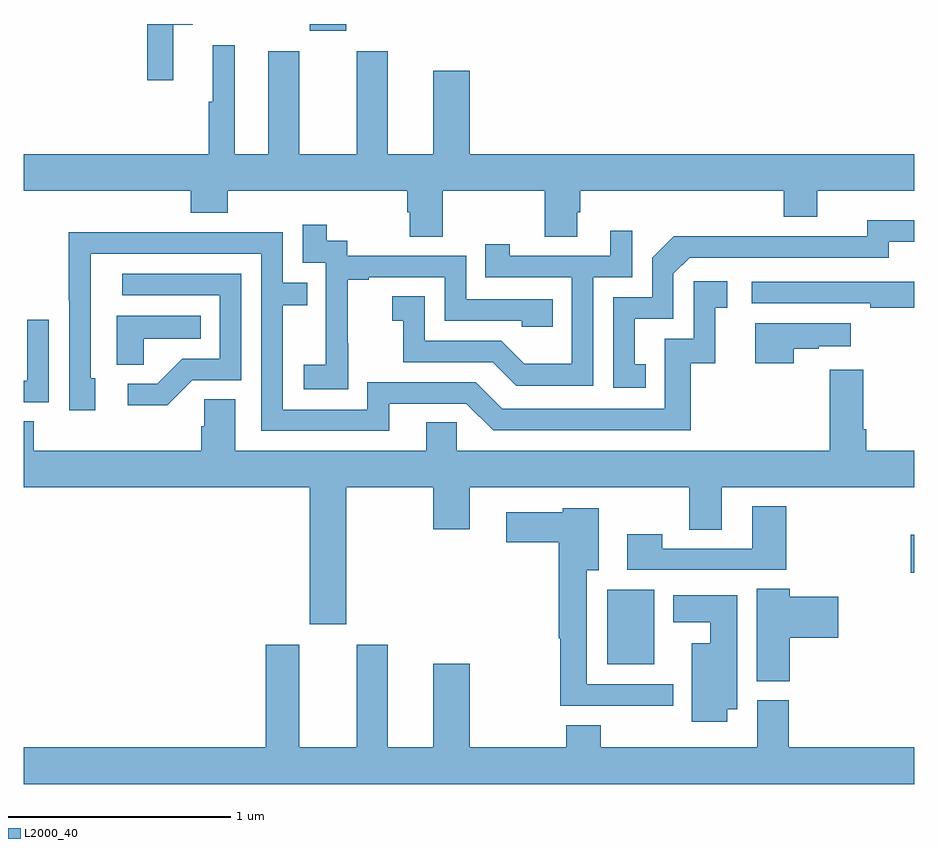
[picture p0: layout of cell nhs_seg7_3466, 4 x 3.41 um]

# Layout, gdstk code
import gdstk
lib = gdstk.Library(unit=1e-6, precision=1e-09)
def R(c, l, rs):  # rectangles x0, y0, x1, y1
    for r in rs: c.add(gdstk.rectangle(r[:2], r[2:], *l))
def P(c, l, *ps):  # polygons
    for p in ps: c.add(gdstk.Polygon(p, *l))
L2000_40 = (2000, 40)

nhs_seg7_3466 = lib.new_cell('nhs_seg7_3466')
R(nhs_seg7_3466, L2000_40, [(333.62,1029.125,333.832,1029.46), (334.983,1029.536,335,1029.706), (332.285,1031.97,332.449,1032)])
P(nhs_seg7_3466, L2000_40, [(331.673,1031.996),(331.759,1031.996),(331.759,1032),(331.555,1032),(331.555,1031.748),(331.673,1031.748)],
  [(332.883,1031.252),(333.34,1031.252),(333.34,1031.044),(333.487,1031.044),(333.487,1031.154),(333.5,1031.154),(333.5,1031.252),(334.412,1031.252),(334.412,1031.135),(334.564,1031.135),(334.564,1031.252),(335,1031.252),(335,1031.416),(333.004,1031.416),(333.004,1031.791),(332.84,1031.791),(332.84,1031.416),(332.635,1031.416),(332.635,1031.878),(332.495,1031.878),(332.495,1031.416),(332.239,1031.416),(332.239,1031.878),(332.099,1031.878),(332.099,1031.416),(331.948,1031.416),(331.948,1031.905),(331.85,1031.905),(331.85,1031.652),(331.831,1031.652),(331.831,1031.416),(331,1031.416),(331,1031.252),(331.751,1031.252),(331.751,1031.153),(331.916,1031.153),(331.916,1031.252),(332.723,1031.252),(332.723,1031.154),(332.735,1031.154),(332.735,1031.044),(332.883,1031.044)],
  [(333.794,1030.473),(333.745,1030.473),(333.745,1030.677),(333.918,1030.677),(333.918,1030.878),(333.99,1030.95),(334.884,1030.95),(334.884,1031.022),(335,1031.022),(335,1031.119),(334.788,1031.119),(334.788,1031.046),(334.328,1031.046),(334.328,1031.048),(333.92,1031.048),(333.822,1030.95),(333.822,1030.773),(333.648,1030.773),(333.648,1030.368),(333.794,1030.368)],
  [(332.457,1030.567),(332.456,1030.567),(332.456,1030.851),(332.551,1030.851),(332.551,1030.863),(332.892,1030.863),(332.892,1030.668),(333.237,1030.668),(333.237,1030.641),(333.377,1030.641),(333.377,1030.764),(332.988,1030.764),(332.988,1030.959),(332.454,1030.959),(332.454,1031.028),(332.362,1031.028),(332.362,1031.098),(332.253,1031.098),(332.253,1030.929),(332.358,1030.929),(332.358,1030.7),(332.357,1030.7),(332.357,1030.471),(332.259,1030.471),(332.259,1030.361),(332.457,1030.361)],
  [(333.558,1030.863),(333.732,1030.863),(333.732,1031.071),(333.635,1031.071),(333.635,1030.959),(333.184,1030.959),(333.184,1031.011),(333.073,1031.011),(333.073,1030.863),(333.462,1030.863),(333.462,1030.474),(333.248,1030.474),(333.144,1030.578),(332.802,1030.578),(332.802,1030.777),(332.655,1030.777),(332.655,1030.667),(332.704,1030.667),(332.704,1030.482),(333.107,1030.482),(333.212,1030.377),(333.558,1030.377)],
  [(332.641,1030.296),(332.988,1030.296),(333.108,1030.176),(333.995,1030.176),(333.995,1030.478),(334.106,1030.478),(334.106,1030.725),(334.159,1030.725),(334.159,1030.846),(334.008,1030.846),(334.008,1030.587),(333.879,1030.587),(333.879,1030.272),(333.15,1030.272),(333.03,1030.392),(332.544,1030.392),(332.544,1030.269),(332.163,1030.269),(332.163,1030.738),(332.273,1030.738),(332.273,1030.839),(332.163,1030.839),(332.163,1031.064),(331.667,1031.064),(331.667,1031.066),(331.204,1031.066),(331.204,1030.759),(331.206,1030.759),(331.206,1030.266),(331.321,1030.266),(331.321,1030.41),(331.302,1030.41),(331.302,1030.968),(332.067,1030.968),(332.067,1030.173),(332.641,1030.173)],
  [(331.758,1030.401),(331.977,1030.401),(331.977,1030.878),(331.443,1030.878),(331.443,1030.782),(331.881,1030.782),(331.881,1030.497),(331.712,1030.497),(331.601,1030.386),(331.467,1030.386),(331.467,1030.289),(331.645,1030.289)],
  [(335,1030.842),(334.269,1030.842),(334.269,1030.746),(334.801,1030.746),(334.801,1030.726),(335,1030.726)],
  [(331.539,1030.586),(331.796,1030.586),(331.796,1030.69),(331.418,1030.69),(331.418,1030.471),(331.539,1030.471)],
  [(331.113,1030.672),(331.017,1030.672),(331.017,1030.398),(331,1030.398),(331,1030.302),(331.113,1030.302)],
  [(334.457,1030.543),(334.571,1030.543),(334.571,1030.553),(334.714,1030.553),(334.714,1030.657),(334.286,1030.657),(334.286,1030.476),(334.457,1030.476)],
  [(332.449,1029.92),(332.84,1029.92),(332.84,1029.732),(333.004,1029.732),(333.004,1029.92),(333.988,1029.92),(333.988,1029.73),(334.135,1029.73),(334.135,1029.92),(335,1029.92),(335,1030.084),(334.784,1030.084),(334.784,1030.18),(334.771,1030.18),(334.771,1030.447),(334.619,1030.447),(334.619,1030.084),(332.946,1030.084),(332.946,1030.211),(332.807,1030.211),(332.807,1030.084),(331.951,1030.084),(331.951,1030.316),(331.812,1030.316),(331.812,1030.193),(331.799,1030.193),(331.799,1030.084),(331.046,1030.084),(331.046,1030.217),(331,1030.217),(331,1029.92),(332.285,1029.92),(332.285,1029.305),(332.449,1029.305)],
  [(334.424,1029.835),(334.271,1029.835),(334.271,1029.645),(333.867,1029.645),(333.867,1029.709),(333.711,1029.709),(333.711,1029.549),(334.424,1029.549)],
  [(333.916,1029.036),(333.529,1029.036),(333.529,1029.548),(333.583,1029.548),(333.583,1029.826),(333.42,1029.826),(333.42,1029.808),(333.168,1029.808),(333.168,1029.674),(333.404,1029.674),(333.404,1029.243),(333.409,1029.243),(333.409,1028.939),(333.916,1028.939)],
  [(334.439,1029.245),(334.657,1029.245),(334.657,1029.428),(334.439,1029.428),(334.439,1029.464),(334.292,1029.464),(334.292,1029.049),(334.439,1029.049)],
  [(334.159,1028.924),(334.204,1028.924),(334.204,1029.436),(333.917,1029.436),(333.917,1029.314),(334.082,1029.314),(334.082,1029.22),(334.001,1029.22),(334.001,1028.868),(334.159,1028.868)],
  [(335,1028.752),(334.436,1028.752),(334.436,1028.964),(334.295,1028.964),(334.295,1028.752),(333.591,1028.752),(333.591,1028.851),(333.436,1028.851),(333.436,1028.752),(333.004,1028.752),(333.004,1029.127),(332.84,1029.127),(332.84,1028.752),(332.635,1028.752),(332.635,1029.214),(332.495,1029.214),(332.495,1028.752),(332.239,1028.752),(332.239,1029.214),(332.087,1029.214),(332.087,1028.752),(331,1028.752),(331,1028.588),(335,1028.588)])

lib.write_gds('nhs_seg7_3466.gds')
